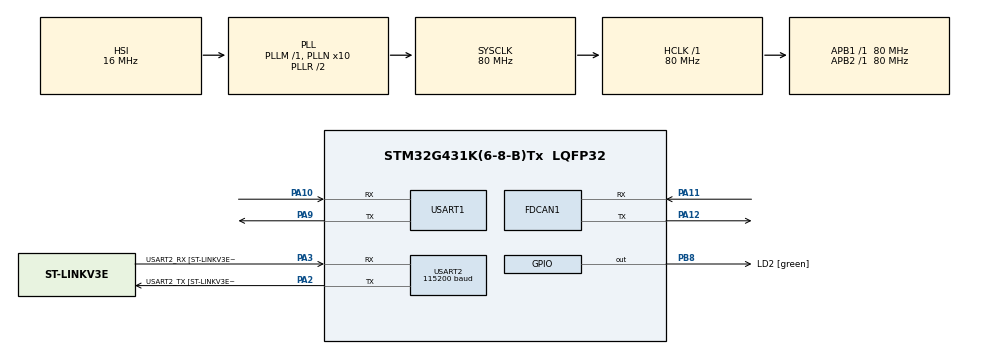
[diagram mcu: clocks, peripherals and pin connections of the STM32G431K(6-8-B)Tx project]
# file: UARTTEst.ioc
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FDCAN1.CalculateBaudRateNominal=1000000
FDCAN1.CalculateTimeBitNominal=1000
FDCAN1.CalculateTimeQuantumNominal=62.5
FDCAN1.DataPrescaler=1
FDCAN1.DataSyncJumpWidth=4
FDCAN1.DataTimeSeg1=5
FDCAN1.DataTimeSeg2=4
FDCAN1.NominalPrescaler=5
FDCAN1.NominalSyncJumpWidth=16
FDCAN1.NominalTimeSeg1=13
FDCAN1.StdFiltersNbr=1
Mcu.Family=STM32G4
Mcu.Name=STM32G431K(6-8-B)Tx
Mcu.Package=LQFP32
NVIC.PriorityGroup=NVIC_PRIORITYGROUP_4
NVIC.USART1_IRQn=true\:1\:0\:true\:false\:true\:true\:true\:true
NVIC.USART2_IRQn=true\:1\:0\:true\:false\:true\:true\:true\:true
PA10.Mode=Asynchronous
PA10.Signal=USART1_RX
PA11.Mode=FDCAN_Activate
PA11.Signal=FDCAN1_RX
PA12.Mode=FDCAN_Activate
PA12.Signal=FDCAN1_TX
PA13.GPIO_Label=T_SWDIO
PA13.Mode=Serial_Wire
PA13.Signal=SYS_JTMS-SWDIO
PA14.GPIO_Label=T_SWCLK
PA14.Mode=Serial_Wire
PA14.Signal=SYS_JTCK-SWCLK
PA2.GPIO_Label=USART2_TX [ST-LINKV3E_VCP_RX]
PA2.Mode=Asynchronous
PA2.Signal=USART2_TX
PA3.GPIO_Label=USART2_RX [ST-LINKV3E_VCP_TX]
PA3.Mode=Asynchronous
PA3.Signal=USART2_RX
PA9.Mode=Asynchronous
PA9.Signal=USART1_TX
PB3.GPIO_Label=T_SWO
PB3.Signal=SYS_JTDO-SWO
PB8-BOOT0.GPIO_Label=LD2 [green]
PB8-BOOT0.Signal=GPIO_Output
ProjectManager.HeapSize=0x200
ProjectManager.StackSize=0x400
ProjectManager.TargetToolchain=STM32CubeIDE
RCC.ADC12Freq_Value=80000000
RCC.AHBFreq_Value=80000000
RCC.APB1Freq_Value=80000000
RCC.APB1TimFreq_Value=80000000
RCC.APB2Freq_Value=80000000
RCC.APB2TimFreq_Value=80000000
RCC.CortexFreq_Value=80000000
RCC.EXTERNAL_CLOCK_VALUE=12288000
RCC.HCLKFreq_Value=80000000
RCC.HSE_VALUE=8000000
RCC.HSI48_VALUE=48000000
RCC.HSI_VALUE=16000000
RCC.LSE_VALUE=32768
RCC.PLLN=10
RCC.SYSCLKFreq_VALUE=80000000
RCC.SYSCLKSource=RCC_SYSCLKSOURCE_PLLCLK
RCC.USBFreq_Value=80000000
RCC.VCOOutputFreq_Value=160000000
USART1.VirtualMode-Asynchronous=VM_ASYNC
USART2.BaudRate=115200
USART2.VirtualMode-Asynchronous=VM_ASYNC
USART2.WordLength=WORDLENGTH_8B
board=NUCLEO-G431KB

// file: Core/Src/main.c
/* USER CODE BEGIN Header */
/**
  ******************************************************************************
  * @file           : main.c
  * @brief          : Main program body
  ******************************************************************************
  * @attention
  *
  * Copyright (c) 2023 STMicroelectronics.
  * All rights reserved.
  *
  * This software is licensed under terms that can be found in the LICENSE file
  * in the root directory of this software component.
  * If no LICENSE file comes with this software, it is provided AS-IS.
  *
  ******************************************************************************
  */
/* USER CODE END Header */
#include "main.h"

/* USER CODE BEGIN Includes */
#include <stdio.h>

/* USER CODE END Includes */

/* USER CODE BEGIN PM */
#define BUF_SIZE 7
/* USER CODE END PM */

FDCAN_HandleTypeDef hfdcan1;

UART_HandleTypeDef huart1;
UART_HandleTypeDef huart2;

/* USER CODE BEGIN PV */
uint8_t byte[BUF_SIZE] = {};
/* USER CODE END PV */

void SystemClock_Config(void);
static void MX_GPIO_Init(void);
static void MX_USART2_UART_Init(void);
static void MX_FDCAN1_Init(void);
static void MX_USART1_UART_Init(void);

/* USER CODE BEGIN 0 */
int _write(int file, char *ptr, int len)
{
	HAL_UART_Transmit(&huart1, (uint8_t *)ptr, len, 10);
	return len;
}

/* USER CODE END 0 */

int main(void)
{

  /* MCU Configuration--------------------------------------------------------*/

  /* Reset of all peripherals, Initializes the Flash interface and the Systick. */
  HAL_Init();

  /* Configure the system clock */
  SystemClock_Config();

  /* Initialize all configured peripherals */
  MX_GPIO_Init();
  MX_USART2_UART_Init();
  MX_FDCAN1_Init();
  MX_USART1_UART_Init();

  /* Infinite loop */
  /* USER CODE BEGIN WHILE */
  while (1)
  {
	  uint16_t count = 100;
	  while(count<400){
		  printf("%d\r\n", count);
		  count += 10;
		  HAL_Delay(1000);
	  }

    /* USER CODE END WHILE */

  }
}

void SystemClock_Config(void)
{
  RCC_OscInitTypeDef RCC_OscInitStruct = {0};
  RCC_ClkInitTypeDef RCC_ClkInitStruct = {0};

  /** Configure the main internal regulator output voltage
  */
  HAL_PWREx_ControlVoltageScaling(PWR_REGULATOR_VOLTAGE_SCALE1);

  /** Initializes the RCC Oscillators according to the specified parameters
  * in the RCC_OscInitTypeDef structure.
  */
  RCC_OscInitStruct.OscillatorType = RCC_OSCILLATORTYPE_HSI;
  RCC_OscInitStruct.HSIState = RCC_HSI_ON;
  RCC_OscInitStruct.HSICalibrationValue = RCC_HSICALIBRATION_DEFAULT;
  RCC_OscInitStruct.PLL.PLLState = RCC_PLL_ON;
  RCC_OscInitStruct.PLL.PLLSource = RCC_PLLSOURCE_HSI;
  RCC_OscInitStruct.PLL.PLLM = RCC_PLLM_DIV1;
  RCC_OscInitStruct.PLL.PLLN = 10;
  RCC_OscInitStruct.PLL.PLLP = RCC_PLLP_DIV2;
  RCC_OscInitStruct.PLL.PLLQ = RCC_PLLQ_DIV2;
  RCC_OscInitStruct.PLL.PLLR = RCC_PLLR_DIV2;
  if (HAL_RCC_OscConfig(&RCC_OscInitStruct) != HAL_OK)
  {
    Error_Handler();
  }

  /** Initializes the CPU, AHB and APB buses clocks
  */
  RCC_ClkInitStruct.ClockType = RCC_CLOCKTYPE_HCLK|RCC_CLOCKTYPE_SYSCLK
                              |RCC_CLOCKTYPE_PCLK1|RCC_CLOCKTYPE_PCLK2;
  RCC_ClkInitStruct.SYSCLKSource = RCC_SYSCLKSOURCE_PLLCLK;
  RCC_ClkInitStruct.AHBCLKDivider = RCC_SYSCLK_DIV1;
  RCC_ClkInitStruct.APB1CLKDivider = RCC_HCLK_DIV1;
  RCC_ClkInitStruct.APB2CLKDivider = RCC_HCLK_DIV1;

  if (HAL_RCC_ClockConfig(&RCC_ClkInitStruct, FLASH_LATENCY_2) != HAL_OK)
  {
    Error_Handler();
  }
}

static void MX_FDCAN1_Init(void)
{

  hfdcan1.Instance = FDCAN1;
  hfdcan1.Init.ClockDivider = FDCAN_CLOCK_DIV1;
  hfdcan1.Init.FrameFormat = FDCAN_FRAME_CLASSIC;
  hfdcan1.Init.Mode = FDCAN_MODE_NORMAL;
  hfdcan1.Init.AutoRetransmission = DISABLE;
  hfdcan1.Init.TransmitPause = DISABLE;
  hfdcan1.Init.ProtocolException = DISABLE;
  hfdcan1.Init.NominalPrescaler = 5;
  hfdcan1.Init.NominalSyncJumpWidth = 16;
  hfdcan1.Init.NominalTimeSeg1 = 13;
  hfdcan1.Init.NominalTimeSeg2 = 2;
  hfdcan1.Init.DataPrescaler = 1;
  hfdcan1.Init.DataSyncJumpWidth = 4;
  hfdcan1.Init.DataTimeSeg1 = 5;
  hfdcan1.Init.DataTimeSeg2 = 4;
  hfdcan1.Init.StdFiltersNbr = 1;
  hfdcan1.Init.ExtFiltersNbr = 0;
  hfdcan1.Init.TxFifoQueueMode = FDCAN_TX_FIFO_OPERATION;
  if (HAL_FDCAN_Init(&hfdcan1) != HAL_OK)
  {
    Error_Handler();
  }

}

static void MX_USART1_UART_Init(void)
{

  huart1.Instance = USART1;
  huart1.Init.BaudRate = 115200;
  huart1.Init.WordLength = UART_WORDLENGTH_8B;
  huart1.Init.StopBits = UART_STOPBITS_1;
  huart1.Init.Parity = UART_PARITY_NONE;
  huart1.Init.Mode = UART_MODE_TX_RX;
  huart1.Init.HwFlowCtl = UART_HWCONTROL_NONE;
  huart1.Init.OverSampling = UART_OVERSAMPLING_16;
  huart1.Init.OneBitSampling = UART_ONE_BIT_SAMPLE_DISABLE;
  huart1.Init.ClockPrescaler = UART_PRESCALER_DIV1;
  huart1.AdvancedInit.AdvFeatureInit = UART_ADVFEATURE_NO_INIT;
  if (HAL_UART_Init(&huart1) != HAL_OK)
  {
    Error_Handler();
  }
  if (HAL_UARTEx_SetTxFifoThreshold(&huart1, UART_TXFIFO_THRESHOLD_1_8) != HAL_OK)
  {
    Error_Handler();
  }
  if (HAL_UARTEx_SetRxFifoThreshold(&huart1, UART_RXFIFO_THRESHOLD_1_8) != HAL_OK)
  {
    Error_Handler();
  }
  if (HAL_UARTEx_DisableFifoMode(&huart1) != HAL_OK)
  {
    Error_Handler();
  }
  /* USER CODE BEGIN USART1_Init 2 */
  HAL_UART_Receive_IT(&huart1, byte, BUF_SIZE);

  /* USER CODE END USART1_Init 2 */

}

static void MX_USART2_UART_Init(void)
{

  huart2.Instance = USART2;
  huart2.Init.BaudRate = 115200;
  huart2.Init.WordLength = UART_WORDLENGTH_8B;
  huart2.Init.StopBits = UART_STOPBITS_1;
  huart2.Init.Parity = UART_PARITY_NONE;
  huart2.Init.Mode = UART_MODE_TX_RX;
  huart2.Init.HwFlowCtl = UART_HWCONTROL_NONE;
  huart2.Init.OverSampling = UART_OVERSAMPLING_16;
  huart2.Init.OneBitSampling = UART_ONE_BIT_SAMPLE_DISABLE;
  huart2.Init.ClockPrescaler = UART_PRESCALER_DIV1;
  huart2.AdvancedInit.AdvFeatureInit = UART_ADVFEATURE_NO_INIT;
  if (HAL_UART_Init(&huart2) != HAL_OK)
  {
    Error_Handler();
  }
  if (HAL_UARTEx_SetTxFifoThreshold(&huart2, UART_TXFIFO_THRESHOLD_1_8) != HAL_OK)
  {
    Error_Handler();
  }
  if (HAL_UARTEx_SetRxFifoThreshold(&huart2, UART_RXFIFO_THRESHOLD_1_8) != HAL_OK)
  {
    Error_Handler();
  }
  if (HAL_UARTEx_DisableFifoMode(&huart2) != HAL_OK)
  {
    Error_Handler();
  }
  /* USER CODE BEGIN USART2_Init 2 */
  setbuf(stdout, NULL);
  HAL_UART_Receive_IT(&huart2, byte, BUF_SIZE);

  /* USER CODE END USART2_Init 2 */

}

static void MX_GPIO_Init(void)
{
  GPIO_InitTypeDef GPIO_InitStruct = {0};

  /* GPIO Ports Clock Enable */
  __HAL_RCC_GPIOA_CLK_ENABLE();
  __HAL_RCC_GPIOB_CLK_ENABLE();

  /*Configure GPIO pin Output Level */
  HAL_GPIO_WritePin(LD2_GPIO_Port, LD2_Pin, GPIO_PIN_RESET);

  /*Configure GPIO pin : LD2_Pin */
  GPIO_InitStruct.Pin = LD2_Pin;
  GPIO_InitStruct.Mode = GPIO_MODE_OUTPUT_PP;
  GPIO_InitStruct.Pull = GPIO_NOPULL;
  GPIO_InitStruct.Speed = GPIO_SPEED_FREQ_LOW;
  HAL_GPIO_Init(LD2_GPIO_Port, &GPIO_InitStruct);

}

/* USER CODE BEGIN 4 */

void HAL_UART_RxCpltCallback(UART_HandleTypeDef *huart){
	/*if(huart->Instance == USART2){

		HAL_UART_Transmit(&huart2, byte, BUF_SIZE, 100);
		HAL_UART_Transmit(&huart1, byte, BUF_SIZE, 100);
		//HAL_UART_Transmit(&huart2, "hello", BUF_SIZE, 100);

		HAL_UART_Receive_IT(&huart2, byte, BUF_SIZE);
	}
	if(huart->Instance == USART1){

		HAL_UART_Transmit(&huart2, byte, BUF_SIZE, 100);
		//HAL_UART_Transmit(&huart1, byte, BUF_SIZE, 100);
		//HAL_UART_Transmit(&huart2, "hello", BUF_SIZE, 100);

		HAL_UART_Receive_IT(&huart1, byte, BUF_SIZE);
	}*/
}
/* USER CODE END 4 */

void Error_Handler(void)
{
  __disable_irq();
  while (1)
  {
  }
}
